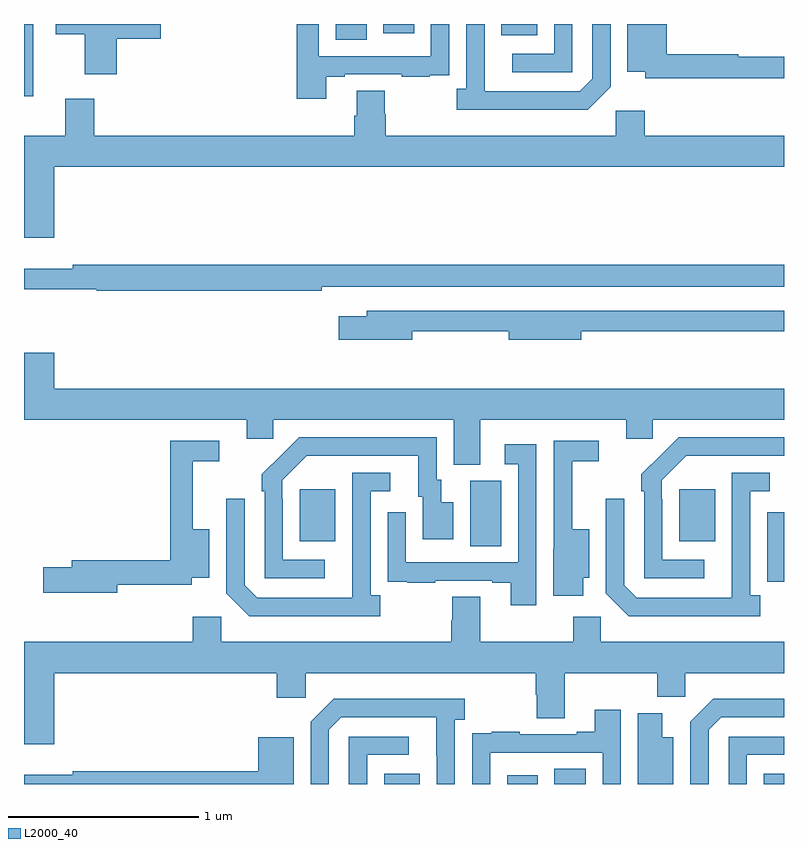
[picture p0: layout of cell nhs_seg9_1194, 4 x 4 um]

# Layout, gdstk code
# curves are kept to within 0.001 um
import gdstk
lib = gdstk.Library(unit=1e-6, precision=1e-09)
def R(c, l, rs):  # rectangles x0, y0, x1, y1
    for r in rs: c.add(gdstk.rectangle(r[:2], r[2:], *l))
def P(c, l, *ps):  # polygons
    for p in ps: c.add(gdstk.Polygon(p, *l))
L2000_40 = (2000, 40)

nhs_seg9_1194 = lib.new_cell('nhs_seg9_1194')
R(nhs_seg9_1194, L2000_40, [(178.895,1198.5,179.083,1198.555), (179.543,1198.5,179.704,1198.546), (179.792,1198.5,179.956,1198.58), (180.893,1198.5,181,1198.555), (179.348,1199.752,179.512,1200.096), (178.451,1199.777,178.639,1200.052), (180.449,1199.777,180.637,1200.052), (177,1202.121,177.049,1202.5), (178.64,1202.416,178.804,1202.5), (179.513,1202.441,179.701,1202.5), (178.892,1202.451,179.053,1202.5)])
P(nhs_seg9_1194, L2000_40, [(177.488,1202.423),(177.721,1202.423),(177.721,1202.5),(177.168,1202.5),(177.168,1202.446),(177.32,1202.446),(177.32,1202.235),(177.488,1202.235)],
  [(179.886,1202.5),(179.79,1202.5),(179.79,1202.343),(179.571,1202.343),(179.571,1202.247),(179.886,1202.247)],
  [(180.087,1202.169),(180.087,1202.5),(179.991,1202.5),(179.991,1202.211),(179.925,1202.145),(179.425,1202.145),(179.424,1202.5),(179.328,1202.5),(179.328,1202.158),(179.277,1202.158),(179.277,1202.048),(179.966,1202.048)],
  [(178.591,1202.223),(178.687,1202.223),(178.687,1202.235),(178.987,1202.235),(178.987,1202.223),(179.135,1202.223),(179.135,1202.229),(179.237,1202.229),(179.237,1202.338),(179.238,1202.338),(179.238,1202.5),(179.142,1202.5),(179.142,1202.331),(178.551,1202.331),(178.551,1202.5),(178.435,1202.5),(178.435,1202.106),(178.591,1202.106)],
  [(181,1202.327),(180.76,1202.327),(180.76,1202.342),(180.383,1202.342),(180.383,1202.5),(180.176,1202.5),(180.176,1202.249),(180.27,1202.249),(180.27,1202.214),(181,1202.214)],
  [(177.16,1201.748),(181,1201.748),(181,1201.912),(180.266,1201.912),(180.266,1202.044),(180.114,1202.044),(180.114,1201.912),(178.904,1201.912),(178.904,1202.025),(178.899,1202.025),(178.899,1202.15),(178.751,1202.15),(178.751,1202.018),(178.739,1202.018),(178.739,1201.912),(177.371,1201.912),(177.371,1202.107),(177.218,1202.107),(177.218,1201.912),(177,1201.912),(177,1201.374),(177.16,1201.374)],
  [(178.568,1201.116),(181,1201.116),(181,1201.232),(177.256,1201.232),(177.256,1201.213),(177,1201.213),(177,1201.104),(177.382,1201.104),(177.382,1201.096),(178.568,1201.096)],
  [(179.044,1200.882),(179.552,1200.882),(179.552,1200.839),(179.932,1200.839),(179.932,1200.882),(181,1200.882),(181,1200.99),(178.805,1200.99),(178.805,1200.961),(178.656,1200.961),(178.656,1200.839),(179.044,1200.839)],
  [(179.401,1200.416),(180.17,1200.416),(180.17,1200.318),(180.309,1200.318),(180.309,1200.416),(181,1200.416),(181,1200.58),(177.16,1200.58),(177.16,1200.769),(177,1200.769),(177,1200.416),(178.172,1200.416),(178.172,1200.318),(178.311,1200.318),(178.311,1200.416),(179.261,1200.416),(179.261,1200.181),(179.401,1200.181)],
  [(180.58,1199.679),(180.36,1199.679),(180.36,1199.999),(180.357,1199.999),(180.357,1200.099),(180.486,1200.228),(181,1200.228),(181,1200.324),(180.446,1200.324),(180.249,1200.129),(180.249,1200.041),(180.264,1200.041),(180.264,1199.583),(180.58,1199.583)],
  [(178.582,1199.679),(178.362,1199.679),(178.362,1199.999),(178.359,1199.999),(178.359,1200.099),(178.488,1200.228),(179.075,1200.228),(179.075,1200.012),(179.099,1200.012),(179.099,1199.787),(179.26,1199.787),(179.26,1199.983),(179.197,1199.983),(179.197,1200.102),(179.172,1200.102),(179.172,1200.324),(178.448,1200.324),(178.251,1200.129),(178.251,1200.041),(178.266,1200.041),(178.266,1199.583),(178.582,1199.583)],
  [(177.49,1199.55),(177.882,1199.55),(177.882,1199.585),(177.976,1199.585),(177.976,1199.842),(177.887,1199.842),(177.887,1200.198),(178.027,1200.198),(178.027,1200.306),(177.769,1200.306),(177.769,1199.678),(177.251,1199.678),(177.251,1199.642),(177.102,1199.642),(177.102,1199.507),(177.49,1199.507)],
  [(179.944,1199.585),(179.974,1199.585),(179.974,1199.842),(179.885,1199.842),(179.885,1200.198),(180.025,1200.198),(180.025,1200.306),(179.787,1200.306),(179.787,1199.738),(179.786,1199.738),(179.786,1199.49),(179.944,1199.49)],
  [(179.697,1200.289),(179.529,1200.289),(179.529,1200.183),(179.601,1200.183),(179.601,1199.667),(179.01,1199.667),(179.01,1199.929),(178.914,1199.929),(178.914,1199.674),(178.915,1199.674),(178.915,1199.565),(179.017,1199.565),(179.017,1199.559),(179.165,1199.559),(179.165,1199.571),(179.465,1199.571),(179.465,1199.559),(179.561,1199.559),(179.561,1199.442),(179.697,1199.442)],
  [(178.876,1199.494),(178.824,1199.494),(178.824,1200.042),(178.927,1200.042),(178.927,1200.138),(178.728,1200.138),(178.727,1199.481),(178.227,1199.481),(178.161,1199.547),(178.161,1200.001),(178.065,1200.001),(178.065,1199.505),(178.186,1199.384),(178.876,1199.384)],
  [(180.874,1199.494),(180.822,1199.494),(180.822,1200.042),(180.925,1200.042),(180.925,1200.138),(180.726,1200.138),(180.725,1199.481),(180.225,1199.481),(180.159,1199.547),(180.159,1200.001),(180.063,1200.001),(180.063,1199.505),(180.184,1199.384),(180.874,1199.384)],
  [(181,1199.929),(180.912,1199.929),(180.912,1199.674),(180.913,1199.674),(180.913,1199.565),(181,1199.565)],
  [(177.16,1199.084),(178.331,1199.084),(178.331,1198.953),(178.482,1198.953),(178.482,1199.084),(179.693,1199.084),(179.693,1198.971),(179.698,1198.971),(179.698,1198.846),(179.845,1198.846),(179.845,1199.084),(180.334,1199.084),(180.334,1198.958),(180.48,1198.958),(180.48,1199.084),(181,1199.084),(181,1199.248),(180.036,1199.248),(180.036,1199.38),(179.89,1199.38),(179.89,1199.248),(179.401,1199.248),(179.401,1199.486),(179.254,1199.486),(179.254,1199.361),(179.249,1199.361),(179.249,1199.248),(178.038,1199.248),(178.038,1199.38),(177.887,1199.38),(177.887,1199.248),(177,1199.248),(177,1198.71),(177.16,1198.71)],
  [(180.603,1198.785),(180.669,1198.851),(181,1198.851),(181,1198.948),(180.628,1198.948),(180.507,1198.827),(180.507,1198.5),(180.603,1198.5)],
  [(178.605,1198.785),(178.671,1198.851),(179.171,1198.851),(179.172,1198.5),(179.268,1198.5),(179.268,1198.838),(179.32,1198.838),(179.32,1198.948),(178.63,1198.948),(178.509,1198.827),(178.509,1198.5),(178.605,1198.5)],
  [(179.454,1198.665),(180.045,1198.665),(180.045,1198.5),(180.141,1198.5),(180.141,1198.891),(180.005,1198.891),(180.005,1198.774),(179.909,1198.774),(179.909,1198.761),(179.609,1198.761),(179.609,1198.774),(179.461,1198.774),(179.461,1198.767),(179.359,1198.767),(179.359,1198.658),(179.358,1198.658),(179.358,1198.5),(179.454,1198.5)],
  [(180.418,1198.747),(180.358,1198.747),(180.358,1198.873),(180.231,1198.873),(180.231,1198.5),(180.418,1198.5)],
  [(180.804,1198.653),(181,1198.653),(181,1198.749),(180.708,1198.749),(180.708,1198.5),(180.804,1198.5)],
  [(178.806,1198.653),(179.026,1198.653),(179.026,1198.749),(178.71,1198.749),(178.71,1198.5),(178.806,1198.5)],
  [(178.42,1198.747),(178.233,1198.747),(178.233,1198.568),(177.256,1198.568),(177.256,1198.549),(177,1198.549),(177,1198.5),(178.42,1198.5)])

lib.write_gds('nhs_seg9_1194.gds')
